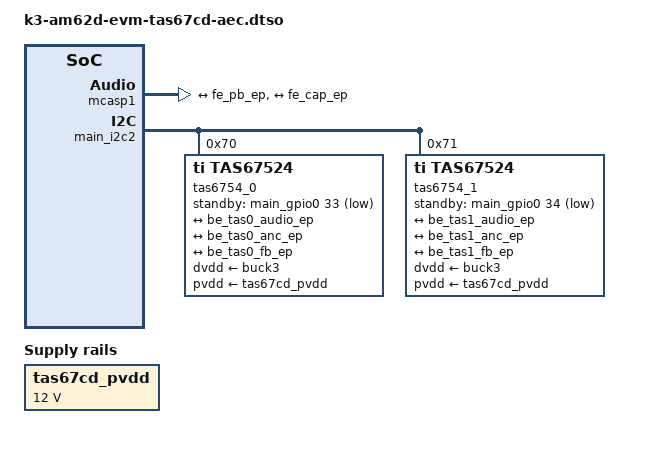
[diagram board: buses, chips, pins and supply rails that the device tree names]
// SPDX-License-Identifier: GPL-2.0-only OR MIT
/**
 * DT overlay for TAS67CD-AEC daughter card on AM62D-EVM's AEC1 connector.
 *
 * Audio Expansion Connector 1 (AEC1):
 *   McASP1 + I2C2, MMC2 pads (mux mode 1)
 *
 * The TAS67CD-AEC carries two TAS6754 quad-channel Class-D amplifiers
 * on a shared 16-slot TDM DSP_B bus.
 *
 * Copyright (C) 2026 Texas Instruments Incorporated - https://www.ti.com/
 */

/dts-v1/;
/plugin/;

#include <dt-bindings/gpio/gpio.h>
#include "k3-pinctrl.h"

/*
 * TAS67CD-AEC power supplies:
 *
 * DVDD (1.8V IOVDD): AM62D-EVM PMIC buck3 (referenced directly as &buck3)
 * PVDD: External power supply source.
 * VBAT: Hardwired to PVDD on the board.
 */
&{/} {
	tas67cd_pvdd: regulator-tas67cd-pvdd {
		compatible = "regulator-fixed";
		regulator-name = "tas67cd-pvdd";
		regulator-min-microvolt = <12000000>;
		regulator-max-microvolt = <12000000>;
		regulator-always-on;
	};
};

/*
 * AEC1 pin routing
 *   MCASP1_ACLKX â MMC2_SDCD  (0x0124, F22, mode 1)
 *   MCASP1_AFSX  â MMC2_SDWP  (0x0128, E21, mode 1)
 *   MCASP1_AXR0  â MMC2_DAT0  (0x0114, E20, mode 1)  Combined SDIN
 *   MCASP1_AXR2  â MMC2_DAT2  (0x010C, G20, mode 1)  TAS0 SDOUT
 *   MCASP1_AXR3  â MMC2_DAT3  (0x0108, F20, mode 1)  TAS1 SDOUT
 *
 * Standby GPIOs
 *   TAS0 STBY â GPMC0_OEn_REn = GPIO0_33 (0x0088, L17)
 *   TAS1 STBY â GPMC0_WEn     = GPIO0_34 (0x008C, K19)
 */
&main_pmx0 {
	mcasp1_tas67cd_pins: mcasp1-tas67cd-pins {
		pinctrl-single,pins = <
			AM62DX_IOPAD(0x0124, PIN_INPUT, 1)  /* (F22) MMC2_SDCD.MCASP1_ACLKX */
			AM62DX_IOPAD(0x0128, PIN_INPUT, 1)  /* (E21) MMC2_SDWP.MCASP1_AFSX */
			AM62DX_IOPAD(0x0114, PIN_OUTPUT, 1) /* (E20) MMC2_DAT0.MCASP1_AXR0 */
			AM62DX_IOPAD(0x010c, PIN_INPUT, 1)  /* (G20) MMC2_DAT2.MCASP1_AXR2 */
			AM62DX_IOPAD(0x0108, PIN_INPUT, 1)  /* (F20) MMC2_DAT3.MCASP1_AXR3 */
		>;
	};

	tas67cd_stby_pins: tas67cd-stby-pins {
		pinctrl-single,pins = <
			AM62DX_IOPAD(0x0088, PIN_OUTPUT, 7) /* (L17) GPMC0_OEn_REn.GPIO0_33 */
			AM62DX_IOPAD(0x008c, PIN_OUTPUT, 7) /* (K19) GPMC0_WEn.GPIO0_34 */
		>;
	};
};

&mcasp1 {
	status = "okay";
	#sound-dai-cells = <0>;

	pinctrl-names = "default";
	pinctrl-0 = <&mcasp1_tas67cd_pins>;

	op-mode = <0>;
	tdm-slots = <16>;
	serial-dir = <	/* 0: INACTIVE, 1: TX, 2: RX */
		1 0 2 2	/* AXR0=TX (TAS0/1), AXR2=RX (TAS0), AXR3=RX (TAS1) */
		0 0 0 0
		0 0 0 0
		0 0 0 0
	>;

	ports {
		#address-cells = <1>;
		#size-cells = <0>;

		/*
		 * Port 0: FE playback DAI (McASP DAI ID 0).
		 * McASP is bus/frame provider.
		 */
		port@0 {
			reg = <0>;

			mcasp1_port0_ep: endpoint {
				dai-format = "dsp_b";
				bitclock-master;
				frame-master;
				/* CDCE6214_CLK_OUT1 */
				clocks = <&cdce6214 3>;
				remote-endpoint = <&fe_pb_ep>;
			};
		};

		/* Port 1: FE capture DAI (McASP DAI ID 1) */
		port@1 {
			reg = <1>;

			mcasp1_port1_ep: endpoint {
				dai-format = "dsp_b";
				bitclock-master;
				frame-master;
				/* CDCE6214_CLK_OUT1 */
				clocks = <&cdce6214 3>;
				remote-endpoint = <&fe_cap_ep>;
			};
		};
	};
};

/*
 * TAS6754 TDM slot assignment (16 slots):
 *
 *   SDIN (playback - AXR0):
 *     Slots  0-3 : TAS0 Audio    (ti,audio-slot-no = 0)
 *     Slots  4-7 : TAS1 Audio    (ti,audio-slot-no = 4)
 *     Slots  8-11: TAS0 ANC LL   (ti,llp-slot-no   = 8)
 *     Slots 12-15: TAS1 ANC LL   (ti,llp-slot-no   = 12)
 *
 *   SDOUT (capture / diagnostics, 2 RX serializers):
 *     AXR2 (TAS0): Slots 0-3 Vpredict, Slots 4-7 Isense
 *     AXR3 (TAS1): Slots 0-3 Vpredict, Slots 4-7 Isense
 *
 * Note: TAS6754 only has one SCLK and one FSYNC for the entire device,
 * therefore both playback and capture share the same 16 slot TDM config,
 * only 8 out of 16 slots are used for capture.
 */
&main_i2c2 {
	#address-cells = <1>;
	#size-cells = <0>;
	pinctrl-0 = <&main_i2c2_pins_default &tas67cd_stby_pins>;

	tas6754_0: tas6754@70 {
		compatible = "ti,tas67524";
		reg = <0x70>;
		#sound-dai-cells = <1>;
		sound-name-prefix = "TAS0";

		dvdd-supply = <&buck3>;
		pvdd-supply = <&tas67cd_pvdd>;

		standby-gpios = <&main_gpio0 33 GPIO_ACTIVE_LOW>;

		ti,audio-slot-no = <0>;
		ti,llp-slot-no = <8>;
		ti,vpredict-slot-no = <0>;
		ti,isense-slot-no = <4>;

		/*
		 * Routed to SW4, on/high to unmute and off/low to mute
		 */
		ti,gpio1-function = "mute";

		ports {
			#address-cells = <1>;
			#size-cells = <0>;
			dai-format = "dsp_b";

			port@0 {
				reg = <0>;

				tas0_audio_ep: endpoint {
					remote-endpoint =
						<&be_tas0_audio_ep>;
				};
			};

			port@1 {
				reg = <1>;

				tas0_anc_ep: endpoint {
					remote-endpoint =
						<&be_tas0_anc_ep>;
				};
			};

			port@2 {
				reg = <2>;

				tas0_fb_ep: endpoint {
					remote-endpoint =
						<&be_tas0_fb_ep>;
				};
			};
		};
	};

	tas6754_1: tas6754@71 {
		compatible = "ti,tas67524";
		reg = <0x71>;
		#sound-dai-cells = <1>;
		sound-name-prefix = "TAS1";

		dvdd-supply = <&buck3>;
		pvdd-supply = <&tas67cd_pvdd>;

		standby-gpios = <&main_gpio0 34 GPIO_ACTIVE_LOW>;

		ti,audio-slot-no = <4>;
		ti,llp-slot-no = <12>;
		ti,vpredict-slot-no = <0>;
		ti,isense-slot-no = <4>;

		/*
		 * Routed to SW2, on/high to unmute and off/low to mute
		 */
		ti,gpio1-function = "mute";

		ports {
			#address-cells = <1>;
			#size-cells = <0>;
			dai-format = "dsp_b";

			port@0 {
				reg = <0>;

				tas1_audio_ep: endpoint {
					remote-endpoint =
						<&be_tas1_audio_ep>;
				};
			};

			port@1 {
				reg = <1>;

				tas1_anc_ep: endpoint {
					remote-endpoint =
						<&be_tas1_anc_ep>;
				};
			};

			port@2 {
				reg = <2>;

				tas1_fb_ep: endpoint {
					remote-endpoint =
						<&be_tas1_fb_ep>;
				};
			};
		};
	};
};

/* audio-graph-card2 DPCM sound card */
&{/} {
	sound_tas67cd: sound-tas67cd {
		compatible = "audio-graph-card2";
		label = "TAS67CD-AEC";

		widgets = "Speaker", "TAS0 Speaker",
			  "Speaker", "TAS1 Speaker";

		routing =
			/* FE CPU -> BE codec (playback path) */
			"TAS0 Playback", "Playback Port 0",
			"TAS1 Playback", "Playback Port 0",
			"TAS0 ANC Playback", "Playback Port 0",
			"TAS1 ANC Playback", "Playback Port 0",

			/* BE codec -> FE CPU (capture path) */
			"Capture Port 1", "TAS0 Feedback Capture",
			"Capture Port 1", "TAS1 Feedback Capture",

			/* TAS0 codec outputs -> board speaker */
			"TAS0 Speaker", "TAS0 OUT_CH1",
			"TAS0 Speaker", "TAS0 OUT_CH2",
			"TAS0 Speaker", "TAS0 OUT_CH3",
			"TAS0 Speaker", "TAS0 OUT_CH4",

			/* TAS1 codec outputs -> board speaker */
			"TAS1 Speaker", "TAS1 OUT_CH1",
			"TAS1 Speaker", "TAS1 OUT_CH2",
			"TAS1 Speaker", "TAS1 OUT_CH3",
			"TAS1 Speaker", "TAS1 OUT_CH4",

			/* Board speaker -> codec input */
			"TAS0 SPEAKER_LOAD", "TAS0 Speaker",
			"TAS1 SPEAKER_LOAD", "TAS1 Speaker";

		links = <&mcasp1_fe_pb>, <&mcasp1_fe_cap>,
			<&be_tas0_audio>, <&be_tas0_anc>, <&be_tas0_fb>,
			<&be_tas1_audio>, <&be_tas1_anc>, <&be_tas1_fb>;

		dpcm {
			#address-cells = <1>;
			#size-cells = <0>;

			/* Front-End: 2 FE DAIs on McASP1 */
			ports@0 {
				reg = <0>;
				#address-cells = <1>;
				#size-cells = <0>;

				mcasp1_fe_pb: port@0 {
					reg = <0>;
					playback-only;

					fe_pb_ep: endpoint {
						remote-endpoint =
							<&mcasp1_port0_ep>;
					};
				};

				mcasp1_fe_cap: port@1 {
					reg = <1>;
					capture-only;

					fe_cap_ep: endpoint {
						remote-endpoint =
							<&mcasp1_port1_ep>;
					};
				};
			};

			/* Back-End: 6 BE links (2 chips x 3 DAIs) */
			ports@1 {
				reg = <1>;
				#address-cells = <1>;
				#size-cells = <0>;

				/* TAS0 (0x70) backends */
				be_tas0_audio: port@0 {
					reg = <0>;

					be_tas0_audio_ep: endpoint {
						remote-endpoint =
							<&tas0_audio_ep>;
					};
				};

				be_tas0_anc: port@1 {
					reg = <1>;

					be_tas0_anc_ep: endpoint {
						remote-endpoint =
							<&tas0_anc_ep>;
					};
				};

				be_tas0_fb: port@2 {
					reg = <2>;

					be_tas0_fb_ep: endpoint {
						remote-endpoint =
							<&tas0_fb_ep>;
					};
				};

				/* TAS1 (0x71) backends */
				be_tas1_audio: port@3 {
					reg = <3>;

					be_tas1_audio_ep: endpoint {
						remote-endpoint =
							<&tas1_audio_ep>;
					};
				};

				be_tas1_anc: port@4 {
					reg = <4>;

					be_tas1_anc_ep: endpoint {
						remote-endpoint =
							<&tas1_anc_ep>;
					};
				};

				be_tas1_fb: port@5 {
					reg = <5>;

					be_tas1_fb_ep: endpoint {
						remote-endpoint =
							<&tas1_fb_ep>;
					};
				};
			};
		};
	};
};
